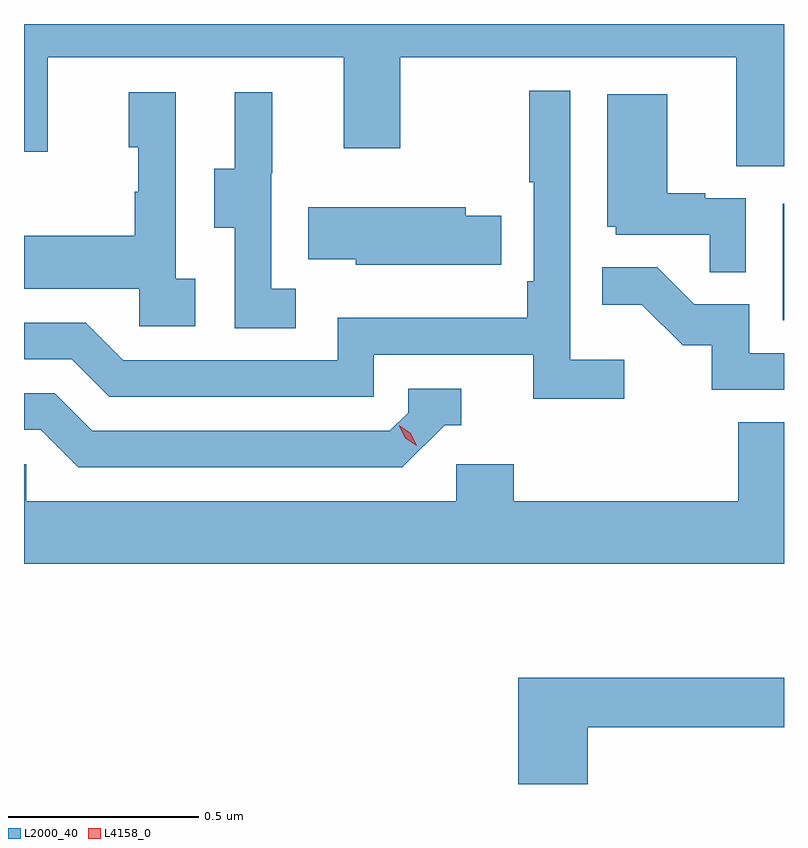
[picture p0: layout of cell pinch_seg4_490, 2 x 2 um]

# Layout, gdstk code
import gdstk
lib = gdstk.Library(unit=1e-6, precision=1e-09)
def R(c, l, rs):  # rectangles x0, y0, x1, y1
    for r in rs: c.add(gdstk.rectangle(r[:2], r[2:], *l))
def P(c, l, *ps):  # polygons
    for p in ps: c.add(gdstk.Polygon(p, *l))
L2000_40 = (2000, 40)
L4158_0 = (4158, 0)

pinch_seg4_490 = lib.new_cell('pinch_seg4_490')
R(pinch_seg4_490, L2000_40, [(924.824,752.172,924.827,752.479)])
P(pinch_seg4_490, L2000_40, [(922.827,752.616),(922.889,752.616),(922.889,752.864),(923.669,752.864),(923.669,752.625),(923.817,752.625),(923.817,752.864),(924.701,752.864),(924.701,752.578),(924.827,752.578),(924.827,752.952),(922.827,752.952)],
  [(924.406,752.068),(924.264,752.068),(924.264,752.776),(924.156,752.776),(924.156,752.536),(924.168,752.536),(924.168,752.275),(924.151,752.275),(924.151,752.179),(923.652,752.179),(923.652,752.067),(923.088,752.067),(922.989,752.166),(922.827,752.166),(922.827,752.07),(922.952,752.07),(923.051,751.971),(923.748,751.971),(923.748,752.082),(924.167,752.082),(924.167,751.966),(924.406,751.966)],
  [(923.542,752.255),(923.478,752.255),(923.478,752.559),(923.48,752.559),(923.48,752.773),(923.381,752.773),(923.381,752.571),(923.327,752.571),(923.327,752.416),(923.382,752.416),(923.382,752.152),(923.542,752.152)],
  [(923.278,752.282),(923.226,752.282),(923.226,752.773),(923.102,752.773),(923.102,752.628),(923.128,752.628),(923.128,752.51),(923.118,752.51),(923.118,752.395),(922.827,752.395),(922.827,752.255),(923.13,752.255),(923.13,752.157),(923.278,752.157)],
  [(924.726,752.493),(924.62,752.493),(924.62,752.506),(924.52,752.506),(924.52,752.767),(924.362,752.767),(924.362,752.418),(924.384,752.418),(924.384,752.397),(924.631,752.397),(924.631,752.299),(924.726,752.299)],
  [(923.972,752.319),(924.083,752.319),(924.083,752.448),(923.989,752.448),(923.989,752.47),(923.575,752.47),(923.575,752.333),(923.7,752.333),(923.7,752.318),(923.972,752.318)],
  [(924.827,752.085),(924.735,752.085),(924.735,752.214),(924.591,752.214),(924.493,752.312),(924.349,752.312),(924.349,752.213),(924.453,752.213),(924.56,752.106),(924.637,752.106),(924.637,751.989),(924.827,751.989)],
  [(923.934,751.896),(923.977,751.896),(923.977,751.992),(923.838,751.992),(923.838,751.929),(923.79,751.881),(923.007,751.881),(922.908,751.98),(922.827,751.98),(922.827,751.884),(922.871,751.884),(922.97,751.785),(923.823,751.785)],
  [(924.827,751.904),(924.707,751.904),(924.707,751.696),(924.116,751.696),(924.116,751.794),(923.964,751.794),(923.964,751.696),(922.833,751.696),(922.833,751.794),(922.827,751.794),(922.827,751.532),(924.827,751.532)],
  [(924.311,751.102),(924.827,751.102),(924.827,751.231),(924.128,751.231),(924.128,750.952),(924.311,750.952)])
P(pinch_seg4_490, L4158_0, [(923.86,751.842),(923.83,751.862),(923.814,751.895),(923.814,751.896),(923.815,751.896),(923.845,751.875),(923.86,751.842),(923.86,751.842)])

lib.write_gds('pinch_seg4_490.gds')
